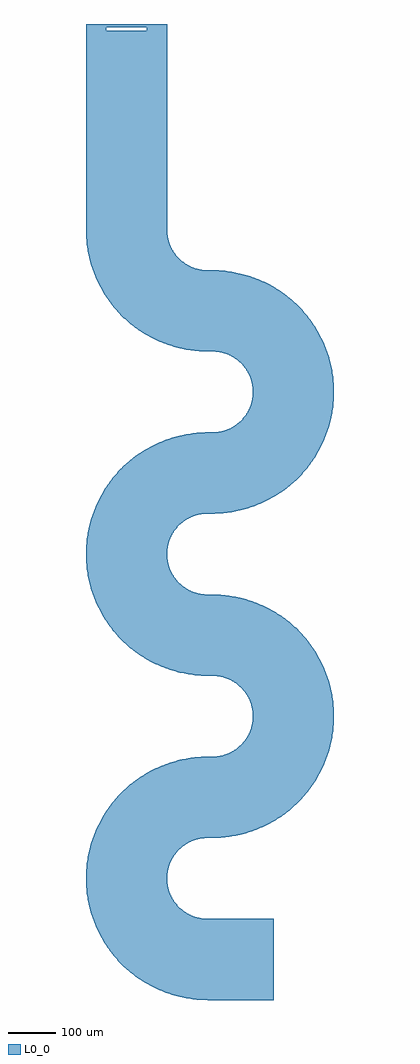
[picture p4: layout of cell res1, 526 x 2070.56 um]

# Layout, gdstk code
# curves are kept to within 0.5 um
import gdstk
lib = gdstk.Library(unit=1e-6, precision=1e-09)
def P(c, l, *ps):  # polygons
    for p in ps: c.add(gdstk.Polygon(p, *l))
L0_0 = (0, 0)

res1 = lib.new_cell('res1')
P(res1, L0_0, [(2718.209,2684.4),(2574.93,2684.455),(2561.222,2686.052),(2546.513,2690.372),(2535.444,2695.667),(2524.038,2703.437),(2515.057,2711.798),(2506.494,2722.621),(2499.772,2734.674),(2495.484,2746.171),(2492.67,2759.682),(2492.014,2771.935),(2320.013,2771.935),(2320.643,2752.201),(2323.248,2729.59),(2327.836,2707.297),(2334.371,2685.495),(2340.967,2668.521),(2350.868,2648.027),(2362.537,2628.486),(2375.883,2610.049),(2390.801,2592.86),(2407.177,2577.052),(2424.882,2562.749),(2443.778,2550.063),(2463.719,2539.091),(2484.55,2529.919),(2501.746,2523.926),(2523.765,2518.165),(2546.206,2514.366),(2568.895,2512.561),(2718.209,2512.4)],
  [(2492.055,2773.47),(2493.107,2784.157),(2495.484,2794.629),(2499.146,2804.724),(2504.039,2814.283),(2510.084,2823.159),(2517.189,2831.211),(2525.241,2838.316),(2534.117,2844.361),(2547.946,2850.978),(2561.222,2854.748),(2573.397,2856.277),(2606.199,2857.043),(2628.81,2859.648),(2659.892,2866.619),(2685.68,2875.606),(2710.373,2887.268),(2737.43,2904.079),(2762.209,2924.097),(2784.333,2947.016),(2389.94,2947.016),(2373.084,2927.159),(2360.066,2908.489),(2348.744,2888.745),(2339.206,2868.08),(2331.526,2846.654),(2324.847,2820.175),(2321.445,2797.67),(2320.013,2771.935),(2492.014,2771.935)],
  [(2787.256,2950.507),(2800.925,2968.705),(2812.937,2988.038),(2823.198,3008.354),(2831.629,3029.495),(2838.164,3051.297),(2842.752,3073.59),(2845.357,3096.201),(2845.959,3119.003),(2673.877,3119.003),(2673.658,3106.735),(2672.035,3096.119),(2668.578,3084.346),(2664.204,3074.538),(2658.642,3065.352),(2650.943,3055.798),(2643.149,3048.411),(2633.196,3041.234),(2619.487,3034.372),(2604.778,3030.052),(2592.603,3028.523),(2559.801,3027.757),(2537.19,3025.152),(2510.492,3019.411),(2484.55,3010.881),(2455.627,2997.532),(2432.305,2983.325),(2410.616,2966.733),(2389.94,2947.016),(2784.333,2947.016)],
  [(2845.839,3123.505),(2844.034,3146.194),(2839.239,3173.078),(2833.09,3194.992),(2825.033,3216.279),(2815.132,3236.773),(2800.925,3260.095),(2787.256,3278.293),(2772.036,3295.217),(2378.171,3295.217),(2397.183,3274.364),(2421.241,3253.484),(2447.688,3235.728),(2476.121,3221.367),(2497.408,3213.31),(2523.765,3206.165),(2555.262,3201.404),(2592.603,3200.277),(2601.757,3199.293),(2618.054,3194.978),(2631.883,3188.361),(2640.759,3182.316),(2648.811,3175.211),(2655.916,3167.159),(2661.961,3158.283),(2666.854,3148.724),(2670.071,3140.098),(2672.634,3129.67),(2673.877,3119.003),(2845.959,3119.003)],
  [(2768.817,3298.436),(2748.351,3316.517),(2726.089,3332.334),(2702.281,3345.709),(2677.191,3356.493),(2651.103,3364.564),(2628.81,3369.152),(2606.199,3371.757),(2573.397,3372.523),(2561.222,3374.052),(2546.513,3378.372),(2532.804,3385.234),(2522.851,3392.411),(2515.057,3399.798),(2507.358,3409.352),(2501.097,3419.905),(2496.401,3431.241),(2493.652,3441.622),(2492.123,3453.797),(2492.342,3466.065),(2320.123,3466.065),(2320.643,3440.201),(2323.248,3417.59),(2327.836,3395.297),(2334.371,3373.495),(2342.802,3352.354),(2353.063,3332.038),(2365.075,3312.705),(2378.171,3295.217),(2772.036,3295.217)],
  [(2492.493,3467.593),(2493.965,3476.681),(2496.899,3487.011),(2500.422,3495.516),(2505.652,3504.895),(2512.011,3513.549),(2518.284,3520.287),(2525.241,3526.316),(2534.117,3532.361),(2547.946,3538.978),(2564.243,3543.293),(2573.397,3544.277),(2610.738,3545.404),(2642.235,3550.165),(2668.592,3557.31),(2689.879,3565.367),(2718.312,3579.728),(2744.759,3597.484),(2768.817,3618.364),(2790.117,3642.049),(2396.796,3642.049),(2378.744,3622.293),(2365.075,3604.095),(2350.868,3580.773),(2340.967,3560.279),(2332.91,3538.992),(2325.765,3512.635),(2321.966,3490.194),(2320.123,3466.065),(2492.342,3466.065)],
  [(2792.916,3645.641),(2805.934,3664.311),(2817.256,3684.055),(2826.794,3704.72),(2834.474,3726.146),(2840.235,3748.165),(2844.034,3770.606),(2845.839,3793.295),(2845.835,3811.593),(2673.507,3811.593),(2673.945,3799.33),(2672.634,3787.13),(2670.071,3776.702),(2665.578,3765.284),(2659.506,3754.621),(2651.979,3744.931),(2643.149,3736.411),(2633.196,3729.234),(2619.487,3722.372),(2604.778,3718.052),(2592.603,3716.523),(2559.801,3715.757),(2537.19,3713.152),(2514.897,3708.564),(2488.809,3700.493),(2463.719,3689.709),(2439.911,3676.334),(2417.649,3660.517),(2396.796,3642.049),(2790.117,3642.049)],
  [(2845.638,3816.054),(2843.433,3838.707),(2838.164,3865.503),(2830.093,3891.591),(2821.29,3912.581),(2810.672,3932.712),(2798.321,3951.83),(2784.333,3969.784),(2765.54,3989.599),(2373.117,3989.599),(2384.652,3975.577),(2397.183,3962.364),(2421.241,3941.484),(2447.688,3923.728),(2476.121,3909.367),(2497.408,3901.31),(2523.765,3894.165),(2555.262,3889.404),(2592.603,3888.277),(2601.757,3887.293),(2618.054,3882.978),(2631.883,3876.361),(2640.759,3870.316),(2647.716,3864.287),(2653.989,3857.549),(2660.348,3848.895),(2665.578,3839.516),(2669.101,3831.011),(2672.035,3820.681),(2673.507,3811.593),(2845.835,3811.593)],
  [(2762.209,3992.703),(2744.759,4007.316),(2726.089,4020.334),(2706.345,4031.656),(2685.68,4041.194),(2659.892,4050.181),(2633.299,4056.392),(2606.199,4059.757),(2570.421,4060.735),(2552.582,4064.242),(2539.906,4069.297),(2528.19,4076.293),(2517.728,4085.055),(2508.783,4095.361),(2502.289,4105.609),(2496.79,4118.098),(2493.336,4131.3),(2492.054,4143.365),(2492,4582.958),(2320,4582.958),(2320,4568.958),(2363,4568.958),(2363,4575.958),(2449,4575.958),(2449,4568.958),(2320,4568.958),(2320,4146.4),(2321.004,4123.662),(2323.248,4105.59),(2326.761,4087.722),(2335.907,4057.209),(2342.802,4040.354),(2350.868,4024.027),(2360.066,4008.311),(2370.349,3993.282),(2373.117,3989.599),(2765.54,3989.599)])

lib.write_gds('res1.gds')
